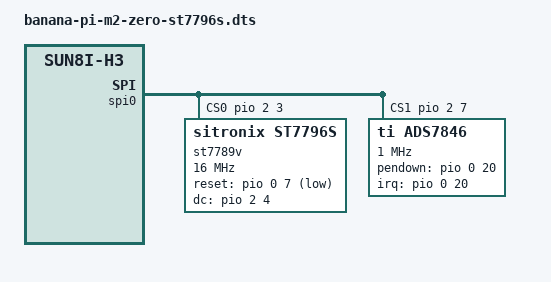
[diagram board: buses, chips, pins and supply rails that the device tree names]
/dts-v1/;
/plugin/;

/ {
    compatible = "allwinner,sun8i-h3";

	fragment@0 {
		target = <&spi0>;
		__overlay__ {
			num-chipselects = <2>;
			cs-gpios = <&pio 2 3 0>, /* C3  = SPI0_CS*/
					   <&pio 2 7 0>; /* C7 = SPI1_CS*/
			status = "okay";
			#address-cells = <1>;
			#size-cells = <0>;

			st7789v: st7789v@0{
				compatible = "sitronix,st7796s";
				reg = <0>;
				spi-max-frequency = <16000000>;
				rotate = <0>;
				fps = <60>;
				buswidth = <8>;
				reset-gpios = <&pio 0 7 1>; /* A7 */
				dc-gpios = <&pio 2 4 0>; /* C4 */
				debug = <1>;
			};

			ads7846: ads7846@0 {
				compatible = "ti,ads7846";
				reg = <1>; 
				status = "okay";
				spi-max-frequency = <1000000>;
				interrupt-parent = <&pio>;
				interrupts = <0 20 2>;
				pendown-gpio = <&pio 0 20 0>; /* A20 */

				/* driver defaults, optional */
				ti,x-min = /bits/ 16 <0>;
				ti,y-min = /bits/ 16 <0>;
				ti,x-max = /bits/ 16 <0x0FFF>;
				ti,y-max = /bits/ 16 <0x0FFF>;
				ti,pressure-min = /bits/ 16 <0>;
				ti,pressure-max = /bits/ 16 <0xFFFF>;
				ti,x-plate-ohms = /bits/ 16 <400>;
		};

		};
	};


};
